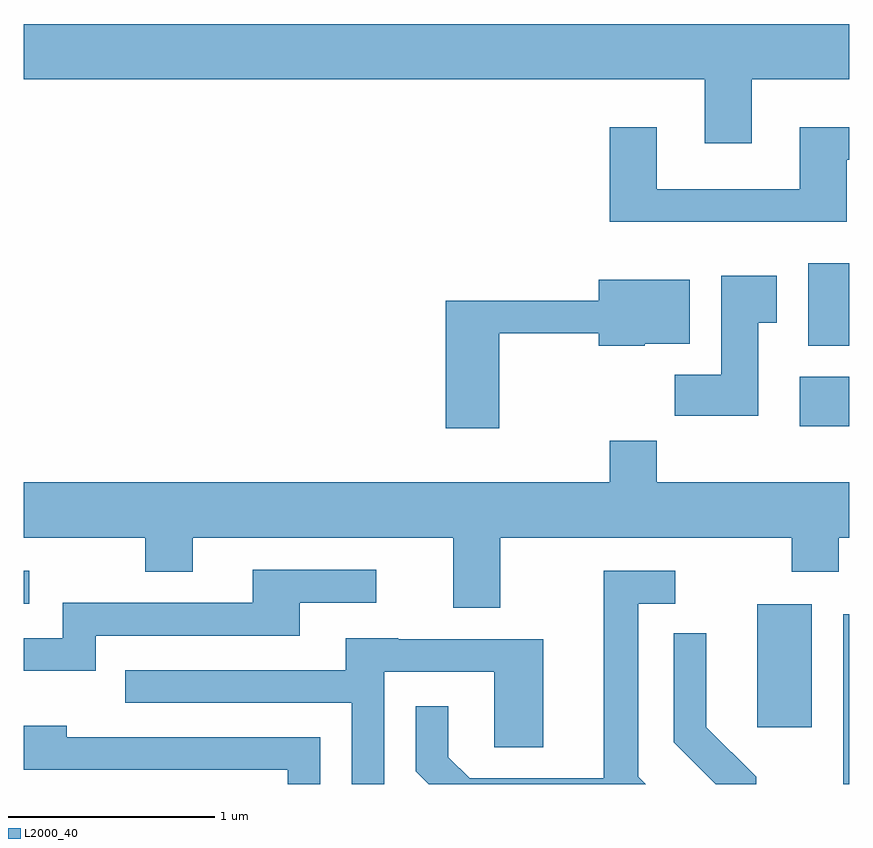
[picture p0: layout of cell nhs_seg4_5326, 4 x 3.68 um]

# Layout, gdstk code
import gdstk
lib = gdstk.Library(unit=1e-6, precision=1e-09)
def R(c, l, rs):  # rectangles x0, y0, x1, y1
    for r in rs: c.add(gdstk.rectangle(r[:2], r[2:], *l))
def P(c, l, *ps):  # polygons
    for p in ps: c.add(gdstk.Polygon(p, *l))
L2000_40 = (2000, 40)

nhs_seg4_5326 = lib.new_cell('nhs_seg4_5326')
R(nhs_seg4_5326, L2000_40, [(345.581,1297.982,345.611,1298.804), (345.166,1298.256,345.429,1298.854), (341.611,1298.856,341.638,1299.014), (345.371,1299.716,345.611,1299.954), (345.411,1300.106,345.611,1300.504)])
P(nhs_seg4_5326, L2000_40, [(345.139,1301.396),(345.611,1301.396),(345.611,1301.664),(341.611,1301.664),(341.611,1301.396),(344.911,1301.396),(344.911,1301.086),(345.139,1301.086)],
  [(345.599,1301.006),(345.611,1301.006),(345.611,1301.164),(345.371,1301.164),(345.371,1300.864),(344.679,1300.864),(344.679,1301.164),(344.451,1301.164),(344.451,1300.706),(345.599,1300.706)],
  [(345.169,1300.216),(345.259,1300.216),(345.259,1300.444),(344.991,1300.444),(344.991,1299.964),(344.766,1299.964),(344.766,1299.766),(345.169,1299.766)],
  [(343.914,1300.166),(344.396,1300.166),(344.396,1300.106),(344.62,1300.106),(344.62,1300.116),(344.839,1300.116),(344.839,1300.424),(344.396,1300.424),(344.396,1300.324),(343.656,1300.324),(343.656,1299.706),(343.914,1299.706)],
  [(343.919,1299.176),(345.331,1299.176),(345.331,1299.011),(345.559,1299.011),(345.559,1299.176),(345.611,1299.176),(345.611,1299.444),(344.679,1299.444),(344.679,1299.644),(344.451,1299.644),(344.451,1299.444),(341.611,1299.444),(341.611,1299.176),(342.201,1299.176),(342.201,1299.011),(342.429,1299.011),(342.429,1299.176),(343.691,1299.176),(343.691,1298.836),(343.919,1298.836)],
  [(341.959,1298.701),(342.949,1298.701),(342.949,1298.861),(343.318,1298.861),(343.318,1299.019),(342.721,1299.019),(342.721,1298.859),(341.801,1298.859),(341.801,1298.689),(341.611,1298.689),(341.611,1298.531),(341.959,1298.531)],
  [(344.589,1298.017),(344.589,1298.856),(344.768,1298.856),(344.768,1299.014),(344.421,1299.014),(344.421,1298.009),(343.772,1298.009),(343.669,1298.112),(343.669,1298.358),(343.511,1298.358),(343.511,1298.044),(343.573,1297.982),(344.624,1297.982)],
  [(345.159,1298.017),(344.919,1298.257),(344.919,1298.713),(344.761,1298.713),(344.761,1298.184),(344.963,1297.982),(345.159,1297.982)],
  [(343.359,1298.526),(343.891,1298.526),(343.891,1298.161),(344.129,1298.161),(344.129,1298.684),(343.425,1298.684),(343.425,1298.689),(343.171,1298.689),(343.171,1298.534),(342.103,1298.534),(342.103,1298.376),(343.201,1298.376),(343.201,1297.982),(343.359,1297.982)],
  [(343.049,1298.209),(341.819,1298.209),(341.819,1298.264),(341.611,1298.264),(341.611,1298.051),(342.891,1298.051),(342.891,1297.982),(343.049,1297.982)])

lib.write_gds('nhs_seg4_5326.gds')
